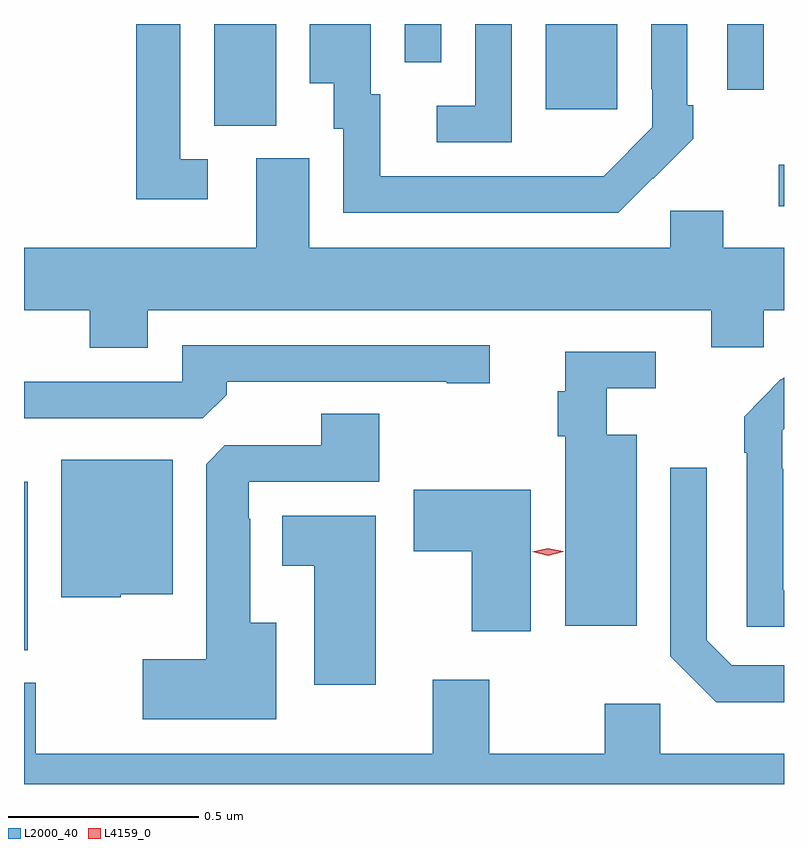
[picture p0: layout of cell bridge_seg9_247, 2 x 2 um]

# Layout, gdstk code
import gdstk
lib = gdstk.Library(unit=1e-6, precision=1e-09)
def R(c, l, rs):  # rectangles x0, y0, x1, y1
    for r in rs: c.add(gdstk.rectangle(r[:2], r[2:], *l))
def P(c, l, *ps):  # polygons
    for p in ps: c.add(gdstk.Polygon(p, *l))
L2000_40 = (2000, 40)
L4159_0 = (4159, 0)

bridge_seg9_247 = lib.new_cell('bridge_seg9_247')
R(bridge_seg9_247, L2000_40, [(246.294,1207.513,246.304,1207.957), (248.28,1208.682,248.294,1208.791), (246.794,1208.893,246.958,1209.161), (247.667,1208.937,247.855,1209.161), (248.145,1208.988,248.241,1209.161), (247.296,1209.06,247.392,1209.161)])
P(bridge_seg9_247, L2000_40, [(247.949,1208.755),(247.95,1208.754),(248.055,1208.859),(248.055,1208.947),(248.04,1208.947),(248.04,1209.161),(247.944,1209.161),(247.944,1208.989),(247.947,1208.989),(247.947,1208.889),(247.819,1208.761),(247.715,1208.761),(247.715,1208.76),(247.231,1208.76),(247.231,1208.976),(247.207,1208.976),(247.207,1209.161),(247.046,1209.161),(247.046,1209.005),(247.109,1209.005),(247.109,1208.886),(247.134,1208.886),(247.134,1208.664),(247.858,1208.664)],
  [(247.578,1209.161),(247.482,1209.161),(247.482,1208.946),(247.38,1208.946),(247.38,1208.85),(247.578,1208.85)],
  [(246.778,1208.805),(246.705,1208.805),(246.705,1209.161),(246.589,1209.161),(246.589,1208.7),(246.778,1208.7)],
  [(246.294,1208.408),(246.467,1208.408),(246.467,1208.309),(246.619,1208.309),(246.619,1208.408),(248.102,1208.408),(248.102,1208.31),(248.241,1208.31),(248.241,1208.408),(248.294,1208.408),(248.294,1208.572),(248.134,1208.572),(248.134,1208.67),(247.995,1208.67),(247.995,1208.572),(247.045,1208.572),(247.045,1208.808),(246.905,1208.808),(246.905,1208.572),(246.294,1208.572)],
  [(246.827,1208.186),(246.827,1208.22),(247.406,1208.22),(247.406,1208.215),(247.519,1208.215),(247.519,1208.316),(246.711,1208.316),(246.711,1208.22),(246.294,1208.22),(246.294,1208.124),(246.765,1208.124)],
  [(247.906,1208.08),(247.828,1208.08),(247.828,1208.202),(247.957,1208.202),(247.957,1208.298),(247.718,1208.298),(247.718,1208.195),(247.699,1208.195),(247.699,1208.076),(247.718,1208.076),(247.718,1207.577),(247.906,1207.577)],
  [(248.294,1207.671),(248.292,1207.671),(248.292,1207.991),(248.289,1207.991),(248.289,1208.091),(248.294,1208.096),(248.294,1208.232),(248.287,1208.225),(248.286,1208.226),(248.189,1208.128),(248.189,1208.033),(248.196,1208.033),(248.196,1207.575),(248.294,1207.575)],
  [(246.958,1207.585),(246.889,1207.585),(246.889,1207.859),(246.885,1207.859),(246.885,1207.956),(247.229,1207.956),(247.229,1208.135),(247.076,1208.135),(247.076,1208.052),(246.822,1208.052),(246.773,1208.003),(246.773,1207.489),(246.606,1207.489),(246.606,1207.331),(246.958,1207.331)],
  [(246.549,1207.661),(246.685,1207.661),(246.685,1208.014),(246.392,1208.014),(246.392,1207.652),(246.549,1207.652)],
  [(248.294,1207.473),(248.157,1207.473),(248.091,1207.539),(248.091,1207.993),(247.995,1207.993),(247.995,1207.497),(248.116,1207.376),(248.294,1207.376)],
  [(247.627,1207.936),(247.32,1207.936),(247.32,1207.774),(247.472,1207.774),(247.472,1207.563),(247.627,1207.563)],
  [(247.219,1207.867),(246.974,1207.867),(246.974,1207.736),(247.058,1207.736),(247.058,1207.422),(247.219,1207.422)],
  [(248.294,1207.24),(247.968,1207.24),(247.968,1207.372),(247.822,1207.372),(247.822,1207.24),(247.518,1207.24),(247.518,1207.435),(247.37,1207.435),(247.37,1207.24),(246.325,1207.24),(246.325,1207.428),(246.294,1207.428),(246.294,1207.161),(248.294,1207.161)])
P(bridge_seg9_247, L4159_0, [(247.673,1207.762),(247.632,1207.772),(247.632,1207.772),(247.632,1207.772),(247.672,1207.782),(247.713,1207.773),(247.713,1207.772),(247.713,1207.772)])

lib.write_gds('bridge_seg9_247.gds')
